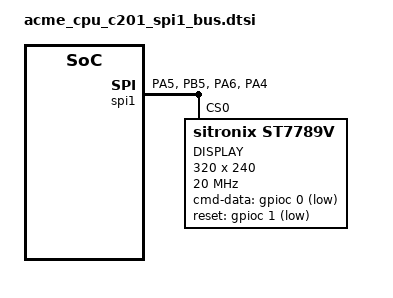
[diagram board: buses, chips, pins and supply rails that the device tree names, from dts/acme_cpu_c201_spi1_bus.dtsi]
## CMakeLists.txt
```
# SPDX-License-Identifier: Apache-2.0

cmake_minimum_required(VERSION 3.13.1)

set(PROJ_ROOT ${CMAKE_CURRENT_SOURCE_DIR}/)
set(DTS_ROOT ${CMAKE_CURRENT_SOURCE_DIR}/dts)
#set(DTC_OVERLAY_FILE "boards/stm32g474re_disco.overlay")

set(BOARD_ROOT ${CMAKE_CURRENT_LIST_DIR})
set(BOARD stm32g474re_disco)

find_package(Zephyr REQUIRED HINTS $ENV{ZEPHYR_BASE})
project(lvgl)

FILE(GLOB app_sources src/*.c)
target_sources(app PRIVATE ${app_sources})
```

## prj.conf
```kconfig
CONFIG_HEAP_MEM_POOL_SIZE=4096
CONFIG_MAIN_STACK_SIZE=2048

CONFIG_DISPLAY=y
CONFIG_DISPLAY_LOG_LEVEL_ERR=y

CONFIG_LOG=y

CONFIG_LVGL_HOR_RES_MAX=320
CONFIG_LVGL_VER_RES_MAX=320

CONFIG_LVGL=y
CONFIG_LVGL_USE_LABEL=y
CONFIG_LVGL_USE_CONT=y
CONFIG_LVGL_USE_BTN=n
CONFIG_LVGL_USE_THEME_MATERIAL=n

CONFIG_LVGL_COLOR_DEPTH_16=y
CONFIG_LVGL_COLOR_16_SWAP=y
CONFIG_LVGL_BITS_PER_PIXEL=16
CONFIG_LVGL_FONT_MONTSERRAT_32=y
CONFIG_LVGL_FONT_UNSCII_8=n

CONFIG_LVGL_MEM_POOL_KERNEL=y
CONFIG_LVGL_VDB_SIZE=5
```

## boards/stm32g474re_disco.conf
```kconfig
CONFIG_SPI=y
CONFIG_SPI_1=y
CONFIG_ST7789V=y
#CONFIG_ST7789V_RGB888=y

CONFIG_LVGL=y
```

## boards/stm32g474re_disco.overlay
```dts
/*
 * Copyright (c) 2020 Rohan Dey
 *
 * SPDX-License-Identifier: Apache-2.0
 */

&spi1 {
        status = "okay";
        /*cs-gpios = <&gpio0 17 GPIO_ACTIVE_HIGH>;*/
        clock-frequency = <400000>;
};
```

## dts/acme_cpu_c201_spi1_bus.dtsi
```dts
/*
 * Copyright (c) 2020 Rohan Dey
 *
 * SPDX-License-Identifier: Apache-2.0
 */

#include <dt-bindings/pinctrl/stm32-pinctrl.h>

&pinctrl {
  spi1_sck: gpioa_5 {
    pinmux = <STM32_PINMUX('A', 5, AF5)>;
  };

  spi1_mosi: gpiob_5 {
    pinmux = <STM32_PINMUX('B', 5, AF5)>;
  };

  spi1_miso: gpioa_6 {
    pinmux = <STM32_PINMUX('A', 6, AF5)>;
  };

  spi1_display_nss: gpioa_4 {
    pinmux = <STM32_PINMUX('A', 4, AF5)>;
  };
};

&spi1 {
    status = "okay";
    pinctrl-0 = <&spi1_sck &spi1_mosi &spi1_miso &spi1_display_nss>;

    tft_display: st7789v@0 {
		compatible = "sitronix,st7789v";
		label = "DISPLAY";
		spi-max-frequency = <20000000>;
		reg = <0>;
		
		/*cmd-data-gpios = <&gpiob 8 GPIO_ACTIVE_LOW>;
		reset-gpios = <&gpiob 7 GPIO_ACTIVE_LOW>;*/
		
		cmd-data-gpios = <&gpioc 0 GPIO_ACTIVE_LOW>;
		reset-gpios = <&gpioc 1 GPIO_ACTIVE_LOW>;
		
		height = <240>;
		width = <320>;
		x-offset = <0>;
		y-offset = <0>;
		
		vcom = <0x1F>;
		
		gctrl = <0x35>;
		vrhs = <0x12>;
		vdvs = <0x20>;
		
		/*mdac = <0x60>;	/*Landscape orientation 1*/
		mdac = <0xA0>;	/*Landscape orientation 2 */
		
		gamma = <0x01>;
		colmod = <0x05>;
		lcm = <0x2c>;
		porch-param = [0c 0c 00 33 33];
		cmd2en-param = [5a 69 02 01];
		pwctrl1-param = [a4 a1];
		
		pvgam-param = [D0 08 11 08 0C 15 39 33 50 36 13 14 29 2D];
		nvgam-param = [D0 08 10 08 06 06 39 44 51 0B 16 14 2F 31];
		
		ram-param = [00 F0];
		rgb-param = [CD 08 14];
    };
};
```

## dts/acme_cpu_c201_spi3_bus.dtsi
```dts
/*
 * Copyright (c) 2020 Volodymyr Sirous
 *
 * SPDX-License-Identifier: Apache-2.0
 */

&pinctrl {
  spi3_sck: gpiob_3 {
    /*pinmux = <STM32_PINMUX('B', 3, (STM32_PINMUX_ALT_FUNC_6 | STM32_PUSHPULL_NOPULL | STM32_OSPEEDR_VERY_HIGH_SPEED))>;*/
    pinmux = <STM32_PINMUX('B', 3, AF6)>;
  };

  spi3_mosi: gpiob_5 {
    /*pinmux = <STM32_PINMUX('B', 5, (STM32_PINMUX_ALT_FUNC_6 | STM32_PUSHPULL_NOPULL | STM32_OSPEEDR_VERY_HIGH_SPEED))>;*/
    pinmux = <STM32_PINMUX('B', 5, AF6)>;
  };

  spi3_miso: gpioc_11 {
    /*pinmux = <STM32_PINMUX('C', 11, (STM32_PINMUX_ALT_FUNC_6 | STM32_MODER_INPUT_MODE | STM32_PUPDR_PULL_UP))>;*/
    pinmux = <STM32_PINMUX('C', 11, AF6)>;
  };

  spi3_microsd_nss: gpiod_2 {
    /*pinmux = <STM32_PINMUX('D', 2, (STM32_PINMUX_FUNC_GPIO | STM32_PUSHPULL_PULLUP | STM32_OSPEEDR_VERY_HIGH_SPEED))>;*/
    pinmux = <STM32_PINMUX('D', 2, AF6)>;
  };
};

&spi3 {
    status = "okay";
    pinctrl-0 = <&spi3_sck &spi3_mosi &spi3_miso &spi3_microsd_nss>;

};
```

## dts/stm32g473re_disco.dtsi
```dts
/*
 * Copyright (c) 2020 Rohan Dey
 *
 * SPDX-License-Identifier: Apache-2.0
 */

#include <stm32g473re_disco_usart3.dtsi>
#include <stm32g473re_disco_timers20.dtsi>
#include <acme_cpu_c201_spi1_bus.dtsi>

/*#include <acme_cpu_c201_spi3_bus.dtsi>*/
/*#include <stm32g473re_disco_timers17.dtsi>*/
/*#include <stm32g473re_disco_leds.dtsi>*/
```

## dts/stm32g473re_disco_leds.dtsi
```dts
/*
 * Copyright (c) 2020 Rohan Dey
 *
 * SPDX-License-Identifier: Apache-2.0
 */

leds {
	compatible = "gpio-leds";
	green_led: led_0 {
		gpios = <&gpiob 7 GPIO_ACTIVE_HIGH>;
		label = "User LD2";
	};
};

/*
orange_led {
	gpios = <&gpiob 1 GPIO_ACTIVE_HIGH>;
	label = "LED_LEFT";
};

red_led {
	gpios = <&gpiob 5 GPIO_ACTIVE_HIGH>;
	label = "LED_UP";
};

blue_led {
	gpios = <&gpioa 15 GPIO_ACTIVE_HIGH>;
	label = "LED_DOWN";
};
*/
```

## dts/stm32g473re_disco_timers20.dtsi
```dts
/*
 * Copyright (c) 2020 Volodymyr Sirous
 *
 * SPDX-License-Identifier: Apache-2.0
 */

#include <dt-bindings/pinctrl/stm32-pinctrl.h>

&pinctrl {

  tim20_ch1: gpiob_2 {
    /*pinmux = <STM32_PINMUX('B', 2, (STM32_PINMUX_ALT_FUNC_3 | STM32_PUSHPULL_PULLUP | STM32_OSPEEDR_HIGH_SPEED))>;*/
    pinmux = <STM32_PINMUX('B', 2, AF3)>;
  };

};

&timers20 {
  status = "okay";
  pwm20: pwm {
    status = "okay";
    pinctrl-0 = <&tim20_ch1>;
    st,prescaler = <10000>;
    #pwm-cells = <3>;
  };
};
```

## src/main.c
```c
/*
 * main.c
 *
 *  Created on: 17-Dec-2020
 *      Author: Rohan Dey
 */

#include <device.h>
#include <drivers/display.h>
#include <lvgl.h>
#include <stdio.h>
#include <string.h>
#include <zephyr.h>
#include "main.h"

#define LOG_LEVEL CONFIG_LOG_DEFAULT_LEVEL
#include <logging/log.h>
LOG_MODULE_REGISTER(app);


#if 1
static const struct device *display_dev;
/*************************** TFT Display thread ***************************/
#define APP_TFT_THREAD_STACK_SIZE	4096
#define APP_TFT_THREAD_PRIORITY		1

K_THREAD_STACK_DEFINE(app_tft_stack, APP_TFT_THREAD_STACK_SIZE);
//K_KERNEL_STACK_DEFINE(app_tft_stack, APP_TFT_THREAD_STACK_SIZE);
struct k_thread app_tft_thread_data;
k_tid_t app_tft_tid;

void app_tft_display_thread(void* p1, void* p2, void* p3) {
//	struct device *display_dev = (struct device *) p1;

	disp_obj_info pres_name, pres_val, speed_name, speed_val;
	uint32_t pval = 0U, sval = 0U;

	LOG_INF("starting app_tft_display_thread ...");

	/* Set 'Pressure' label on screen */
	pres_name.lvgl_prop_hdl = lv_label_create(lv_scr_act(), NULL);
	lv_label_set_recolor(pres_name.lvgl_prop_hdl, true);
	lv_label_set_align(pres_name.lvgl_prop_hdl, LV_LABEL_ALIGN_LEFT);
	lv_label_set_text(pres_name.lvgl_prop_hdl, "#0000ff Pressure: #");
	lv_obj_set_width(pres_name.lvgl_prop_hdl, 220);
	lv_obj_align(pres_name.lvgl_prop_hdl, NULL, LV_ALIGN_IN_TOP_LEFT, 0, 0);

	/* Set 'Pressure' value on screen */
	pres_val.lvgl_prop_hdl = lv_label_create(lv_scr_act(), NULL);
	lv_label_set_recolor(pres_val.lvgl_prop_hdl, true);
	lv_label_set_align(pres_val.lvgl_prop_hdl, LV_LABEL_ALIGN_LEFT);
	lv_label_set_text(pres_val.lvgl_prop_hdl, "10.25");
	lv_obj_set_width(pres_val.lvgl_prop_hdl, 100);
	lv_obj_align(pres_val.lvgl_prop_hdl, pres_name.lvgl_prop_hdl, LV_ALIGN_OUT_RIGHT_TOP, 0, 0);

	/* Set 'Speed' name on screen */
	speed_name.lvgl_prop_hdl = lv_label_create(lv_scr_act(), NULL);
	lv_label_set_recolor(speed_name.lvgl_prop_hdl, true);
	lv_label_set_align(speed_name.lvgl_prop_hdl, LV_LABEL_ALIGN_LEFT);
	lv_label_set_text(speed_name.lvgl_prop_hdl, "#00ff00 Speed: #");
	lv_obj_set_width(speed_name.lvgl_prop_hdl, 220);
	lv_obj_align(speed_name.lvgl_prop_hdl, pres_name.lvgl_prop_hdl, LV_ALIGN_OUT_BOTTOM_LEFT, 0, 0);

	/* Set 'Speed' value on screen */
	speed_val.lvgl_prop_hdl = lv_label_create(lv_scr_act(), NULL);
	lv_label_set_recolor(speed_val.lvgl_prop_hdl, true);
	lv_label_set_align(speed_val.lvgl_prop_hdl, LV_LABEL_ALIGN_LEFT);
	lv_label_set_text(speed_val.lvgl_prop_hdl, "5");
	lv_obj_set_width(speed_val.lvgl_prop_hdl, 100);
	lv_obj_align(speed_val.lvgl_prop_hdl, speed_name.lvgl_prop_hdl, LV_ALIGN_OUT_RIGHT_TOP, 0, 0);

	lv_task_handler();
	display_blanking_off(display_dev);

	while (1) {
		if ((pval % 50) == 0U) {
			sprintf(pres_val.lvgl_prop_value, "%0.2f", (float)pval/50U);
//			lv_label_set_text(pres_val.lvgl_prop_hdl, pres_val.lvgl_prop_value);
		}
		if ((sval % 50) == 0U) {
			sprintf(speed_val.lvgl_prop_value, "%d", sval/50U);
			lv_label_set_text(speed_val.lvgl_prop_hdl, speed_val.lvgl_prop_value);
		}

		lv_task_handler();
		k_sleep(K_MSEC(50));

		++pval;
		++sval;
	}
}

void main() {
	display_dev = device_get_binding(CONFIG_LVGL_DISPLAY_DEV_NAME);
	if (display_dev == NULL) {
		LOG_ERR("device not found.  Aborting test.");
		return;
	}

	app_tft_tid = k_thread_create(&app_tft_thread_data, app_tft_stack, K_THREAD_STACK_SIZEOF(app_tft_stack)/*K_KERNEL_STACK_SIZEOF(app_tft_stack)*/,
			app_tft_display_thread, NULL, NULL, NULL, APP_TFT_THREAD_PRIORITY, 0, K_NO_WAIT);

	while (1) {
		k_sleep(K_MSEC(1000));
	}
}

#else

void main(void)
{
	const struct device *display_dev;
	display_dev = device_get_binding(CONFIG_LVGL_DISPLAY_DEV_NAME);

	if (display_dev == NULL) {
		LOG_ERR("device not found.  Aborting test.");
		return;
	}

	LOG_INF("starting main ...");

	disp_obj_info pres_name, pres_val, speed_name, speed_val;
	uint32_t pval = 0U, sval = 0U;

	/* Set 'Pressure' label on screen */
	pres_name.lvgl_prop_hdl = lv_label_create(lv_scr_act(), NULL);
	lv_label_set_recolor(pres_name.lvgl_prop_hdl, true);
	lv_label_set_align(pres_name.lvgl_prop_hdl, LV_LABEL_ALIGN_LEFT);
	lv_label_set_text(pres_name.lvgl_prop_hdl, "#0000ff Pressure: #");
	lv_obj_set_width(pres_name.lvgl_prop_hdl, 220);
	lv_obj_align(pres_name.lvgl_prop_hdl, NULL, LV_ALIGN_IN_TOP_LEFT, 0, 0);

	/* Set 'Pressure' value on screen */
	pres_val.lvgl_prop_hdl = lv_label_create(lv_scr_act(), NULL);
	lv_label_set_recolor(pres_val.lvgl_prop_hdl, true);
	lv_label_set_align(pres_val.lvgl_prop_hdl, LV_LABEL_ALIGN_LEFT);
	lv_label_set_text(pres_val.lvgl_prop_hdl, "10.25");
	lv_obj_set_width(pres_val.lvgl_prop_hdl, 100);
	lv_obj_align(pres_val.lvgl_prop_hdl, pres_name.lvgl_prop_hdl, LV_ALIGN_OUT_RIGHT_TOP, 0, 0);

	/* Set 'Speed' name on screen */
	speed_name.lvgl_prop_hdl = lv_label_create(lv_scr_act(), NULL);
	lv_label_set_recolor(speed_name.lvgl_prop_hdl, true);
	lv_label_set_align(speed_name.lvgl_prop_hdl, LV_LABEL_ALIGN_LEFT);
	lv_label_set_text(speed_name.lvgl_prop_hdl, "#00ff00 Speed: #");
	lv_obj_set_width(speed_name.lvgl_prop_hdl, 220);
	lv_obj_align(speed_name.lvgl_prop_hdl, pres_name.lvgl_prop_hdl, LV_ALIGN_OUT_BOTTOM_LEFT, 0, 0);

	/* Set 'Speed' value on screen */
	speed_val.lvgl_prop_hdl = lv_label_create(lv_scr_act(), NULL);
	lv_label_set_recolor(speed_val.lvgl_prop_hdl, true);
	lv_label_set_align(speed_val.lvgl_prop_hdl, LV_LABEL_ALIGN_LEFT);
	lv_label_set_text(speed_val.lvgl_prop_hdl, "5");
	lv_obj_set_width(speed_val.lvgl_prop_hdl, 100);
	lv_obj_align(speed_val.lvgl_prop_hdl, speed_name.lvgl_prop_hdl, LV_ALIGN_OUT_RIGHT_TOP, 0, 0);

	lv_task_handler();
	display_blanking_off(display_dev);

	while (1) {
		if ((pval % 100) == 0U) {
			sprintf(pres_val.lvgl_prop_value, "%0.2f", (float)pval/100U);
			lv_label_set_text(pres_val.lvgl_prop_hdl, pres_val.lvgl_prop_value);
		}
		if ((sval % 50) == 0U) {
			sprintf(speed_val.lvgl_prop_value, "%d", sval/50U);
			lv_label_set_text(speed_val.lvgl_prop_hdl, speed_val.lvgl_prop_value);
		}

		lv_task_handler();
		k_sleep(K_MSEC(50));

		++pval;
		++sval;
	}
}
#endif
```

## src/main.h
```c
/*
 * main.h
 *
 *  Created on: 17-Dec-2020
 *      Author: Rohan Dey
 */

#ifndef SRC_MAIN_H_
#define SRC_MAIN_H_

#include <lvgl.h>
#include <stdio.h>

#define MAX_PROP_TO_DISPLAY		4
#define MAX_PROP_NAME_SIZE		30
#define MAX_PROP_VALUE_SIZE		20

typedef struct {
	lv_obj_t *lvgl_prop_hdl;
//	char lvgl_prop_name[MAX_PROP_NAME_SIZE];
	char lvgl_prop_value[MAX_PROP_VALUE_SIZE];
} disp_obj_info;

#endif /* SRC_MAIN_H_ */
```
